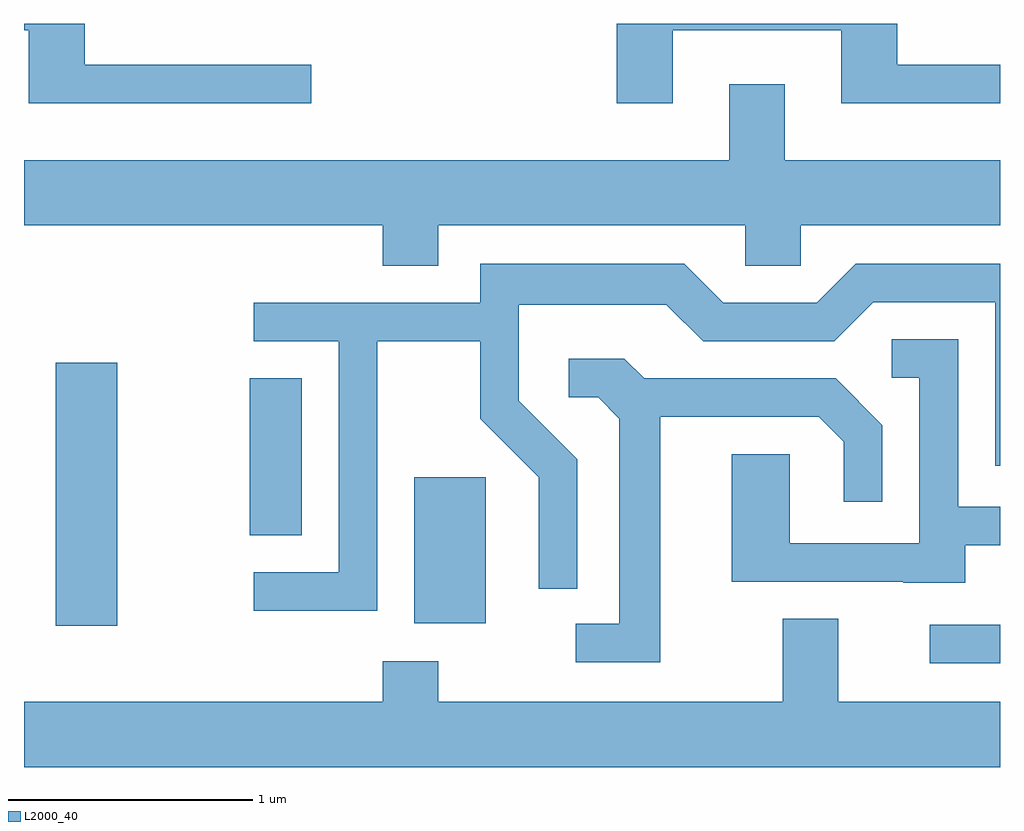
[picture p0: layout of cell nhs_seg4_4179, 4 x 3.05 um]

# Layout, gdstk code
import gdstk
lib = gdstk.Library(unit=1e-6, precision=1e-09)
def R(c, l, rs):  # rectangles x0, y0, x1, y1
    for r in rs: c.add(gdstk.rectangle(r[:2], r[2:], *l))
def P(c, l, *ps):  # polygons
    for p in ps: c.add(gdstk.Polygon(p, *l))
L2000_40 = (2000, 40)

nhs_seg4_4179 = lib.new_cell('nhs_seg4_4179')
R(nhs_seg4_4179, L2000_40, [(311.323,1317.361,311.611,1317.519), (307.741,1317.516,307.994,1318.594), (309.211,1317.526,309.504,1318.124), (308.536,1317.886,308.749,1318.529)])
P(nhs_seg4_4179, L2000_40, [(308.788,1319.814),(307.859,1319.814),(307.859,1319.982),(307.611,1319.982),(307.611,1319.956),(307.631,1319.956),(307.631,1319.656),(308.788,1319.656)],
  [(310.269,1319.956),(310.961,1319.956),(310.961,1319.656),(311.611,1319.656),(311.611,1319.814),(311.189,1319.814),(311.189,1319.982),(310.041,1319.982),(310.041,1319.656),(310.269,1319.656)],
  [(309.309,1319.156),(310.566,1319.156),(310.566,1318.991),(310.794,1318.991),(310.794,1319.156),(311.611,1319.156),(311.611,1319.424),(310.729,1319.424),(310.729,1319.734),(310.501,1319.734),(310.501,1319.424),(307.611,1319.424),(307.611,1319.156),(309.081,1319.156),(309.081,1318.991),(309.309,1318.991)],
  [(309.059,1318.681),(309.481,1318.681),(309.481,1318.364),(309.721,1318.124),(309.721,1317.668),(309.879,1317.668),(309.879,1318.197),(309.639,1318.437),(309.639,1318.831),(310.244,1318.831),(310.394,1318.681),(310.932,1318.681),(311.092,1318.841),(311.591,1318.841),(311.591,1318.171),(311.611,1318.171),(311.611,1318.999),(311.019,1318.999),(310.859,1318.839),(310.477,1318.839),(310.317,1318.999),(309.481,1318.999),(309.481,1318.839),(308.553,1318.839),(308.553,1318.681),(308.901,1318.681),(308.901,1317.734),(308.553,1317.734),(308.553,1317.576),(309.059,1317.576)],
  [(311.469,1317.846),(311.611,1317.846),(311.611,1318.004),(311.439,1318.004),(311.439,1318.689),(311.168,1318.689),(311.168,1318.531),(311.281,1318.531),(311.281,1317.854),(310.749,1317.854),(310.749,1318.219),(310.511,1318.219),(310.511,1317.696),(311.215,1317.696),(311.215,1317.691),(311.469,1317.691)],
  [(310.219,1318.371),(310.869,1318.371),(310.971,1318.269),(310.971,1318.023),(311.129,1318.023),(311.129,1318.337),(310.937,1318.529),(310.152,1318.529),(310.072,1318.609),(309.843,1318.609),(309.843,1318.451),(309.964,1318.451),(310.051,1318.364),(310.051,1317.524),(309.873,1317.524),(309.873,1317.366),(310.219,1317.366)],
  [(311.611,1317.204),(310.949,1317.204),(310.949,1317.544),(310.721,1317.544),(310.721,1317.204),(309.309,1317.204),(309.309,1317.369),(309.081,1317.369),(309.081,1317.204),(307.611,1317.204),(307.611,1316.936),(311.611,1316.936)])

lib.write_gds('nhs_seg4_4179.gds')
